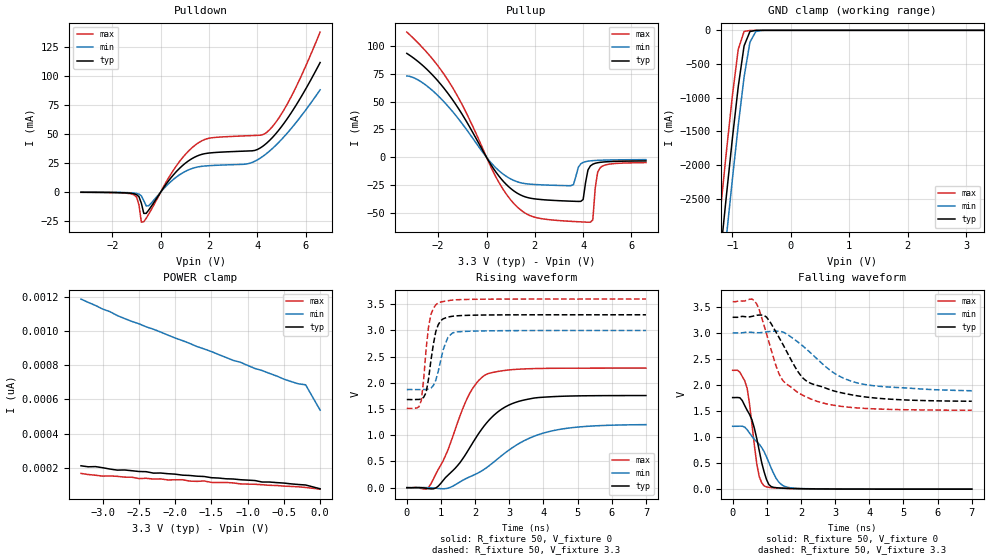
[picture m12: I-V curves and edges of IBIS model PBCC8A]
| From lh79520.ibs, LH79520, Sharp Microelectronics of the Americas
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[Model]   PBCC8A
Model_type I/O
Enable Active-High
Polarity Non-Inverting
Vinh=2.0
Vinl=0.8
Vmeas=1.65
C_comp   3.0pF   3.0pF   3.0pF
[Model Spec]
[Temperature Range] 25   85   -40
[Voltage Range]   3.3   3.0   3.6
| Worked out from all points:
|   slope of the pulldown table from 0 to 0.495 V, typ, clamps not added: 35.2 ohm
|   slope of the pullup table from 0 to 0.495 V, typ, clamps not added: 30.2 ohm
|   GND clamp passes 1 mA (typ) near -0.59 V on its own axis
|   falling waveform, R_fixture 50, V_fixture 0: 20-80 % time 399ps typ, 623ps min, 264ps max; typ from 1.76 V to 0 V
|   falling waveform, R_fixture 50, V_fixture 3.3: 20-80 % time 1.08ns typ, 1.32ns min, 861ps max; typ from 3.3 V to 1.69 V
|   rising waveform, R_fixture 50, V_fixture 0: 20-80 % time 1.2ns typ, 1.69ns min, 850ps max; typ from 0 V to 1.76 V
|   rising waveform, R_fixture 50, V_fixture 3.3: 20-80 % time 231ps typ, 276ps min, 200ps max; typ from 1.68 V to 3.3 V
[Pullup]
-3.3V     93.46mA    73.15mA    112.6mA
-1.7V     60.4mA     48.46mA    72.76mA
600mV     -19.26mA   -13.65mA   -25.83mA
1.7V      -36.23mA   -23.95mA   -51.44mA
3.5V      -39.48mA   -25.49mA   -57.63mA
3.9V      -39.66mA   -5.939mA   -58.1mA
4V        -37.94mA   -4.617mA   -58.21mA
4.3V      -7.761mA   -3.204mA   -58.36mA
4.4V      -6.226mA   -3.002mA   -56.2mA
4.5V      -5.402mA   -2.851mA   -27.56mA
4.7V      -4.554mA   -2.642mA   -9.53mA
6.6V      -3.27mA    -2.114mA   -4.787mA
[Pulldown]
-3.3V     -159uA     -104uA     -199uA
-1.1V     -1.502mA   -847.2uA   -2.424mA
-900mV    -3.941mA   -1.757mA   -11mA
-800mV    -9.64mA    -3.202mA   -25.92mA
-700mV    -18.36mA   -7.349mA   -25.46mA
-500mV    -15.6mA    -11.81mA   -19.09mA
600mV     16.57mA    12.17mA    21.14mA
1.5V      31mA       21.49mA    41.58mA
3.6V      35.39mA    24.39mA    48.53mA
4.5V      44.34mA    35.22mA    53.56mA
5.4V      68.18mA    54.71mA    82.07mA
6.6V      111.6mA    88.08mA    137.8mA
[GND Clamp]
-3.3V     -22.33A    -22.9A     -21.74A
-1.3V     -4.165A    -4.777A    -3.514A
-1.2V     -3.293A    -3.906A    -2.639A
-1.1V     -2.437A    -3.049A    -1.785A
-1V       -1.608A    -2.213A    -971.6mA
-900mV    -838.5mA   -1.415A    -282.7mA
-800mV    -231.2mA   -694.6mA   -16.39mA
-700mV    -18.3mA    -177.3mA   -2.444mA
-600mV    -1.112mA   -18.02mA   -425.1uA
-400mV    -3.806uA   -62.61uA   -948.1nA
3.3V      77.38pA    690.5pA    69.21pA
[POWER Clamp]
-3.3V     211.8pA    1.186nA    167.2pA
-3V       200.4pA    1.127nA    151.4pA
-2.8V     186.5pA    1.09nA     150.1pA
-2.7V     187.4pA    1.072nA    145.6pA
-2.3V     168.9pA    1.01nA     134.2pA
-1.9V     157.1pA    943.2pA    130.3pA
-1.2V     134.6pA    827.6pA    111.7pA
-1.1V     130.5pA    816.6pA    106.1pA
-500mV    110.9pA    717.9pA    92.88pA
-300mV    102.5pA    690.6pA    88.84pA
-200mV    99.6pA     685pA      85.23pA
0V        77.55pA    536.7pA    75.22pA
[Falling Waveform]
R_fixture=50
V_fixture=0
V_fixture_min=0
V_fixture_max=0
0s        1.759V     1.207V     2.282V
212.1ps   1.755V     1.21V      2.244V
424.2ps   1.515V     1.142V     1.937V
707.1ps   967.7mV    908.6mV    481.9mV
777.8ps   742.2mV    863.5mV    243.1mV
919.2ps   335.7mV    724.2mV    64.02mV
1.131ns   48.58mV    399.4mV    29.31mV
1.343ns   24.58mV    142.3mV    19.89mV
1.626ns   14.72mV    33.8mV     12.85mV
7ns       36.8uV     64.73uV    42.92uV
[Falling Waveform]
R_fixture=50
V_fixture=3.3
V_fixture_min=3.0
V_fixture_max=3.6
0s        3.3V       3V         3.6V
636.4ps   3.329V     3.006V     3.617V
777.8ps   3.343V     3.003V     3.443V
989.9ps   3.304V     3.02V      2.986V
1.414ns   2.846V     3.027V     2.139V
1.909ns   2.258V     2.825V     1.857V
2.192ns   2.062V     2.671V     1.759V
2.97ns    1.885V     2.229V     1.61V
3.677ns   1.79V      2.036V     1.559V
7ns       1.688V     1.889V     1.515V
[Rising Waveform]
R_fixture=50
V_fixture=0
V_fixture_min=0
V_fixture_max=0
0s        0V         0V         0V
636.4ps   -18.55mV   58.08uV    4.253mV
848.5ps   -5.875mV   -9.931mV   259mV
1.131ns   191.5mV    -17.91mV   610.2mV
1.768ns   683.8mV    184.8mV    1.706V
2.051ns   981.3mV    268.6mV    2.005V
2.333ns   1.234V     381.5mV    2.165V
3.04ns    1.592V     741.3mV    2.25V
4.101ns   1.731V     1.06V      2.277V
7ns       1.758V     1.203V     2.282V
[Rising Waveform]
R_fixture=50
V_fixture=3.3
V_fixture_min=3.0
V_fixture_max=3.6
0s        1.682V     1.873V     1.513V
353.5ps   1.684V     1.872V     1.543V
424.2ps   1.69V      1.872V     1.664V
565.7ps   1.819V     1.876V     2.65V
636.4ps   2.078V     1.883V     3.069V
777.8ps   2.739V     1.951V     3.419V
919.2ps   3.11V      2.218V     3.527V
1.202ns   3.256V     2.866V     3.568V
1.414ns   3.277V     2.966V     3.585V
7ns       3.3V       3V         3.6V
[Ramp]
R_load=50
dV/dt_r   1.055E+0/1.203E-9   7.219E-1/1.695E-9   1.369E+0/8.470E-10
dV/dt_f   9.674E-1/1.076E-9   6.664E-1/1.314E-9   1.251E+0/8.611E-10
|[End   PBCC8A
